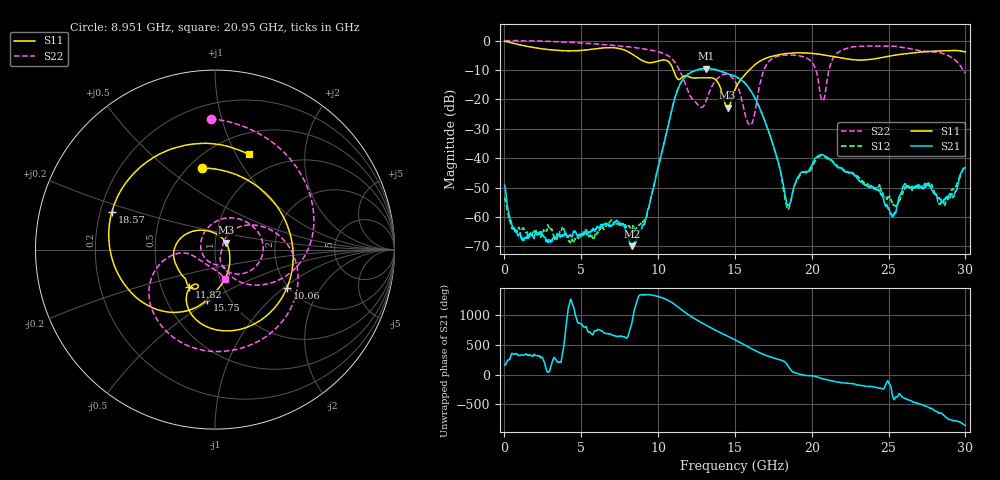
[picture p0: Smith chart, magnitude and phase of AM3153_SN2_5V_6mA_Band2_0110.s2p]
!Agilent Technologies,E8364B,MY43040894,A.07.50.67
!Agilent E8364B: A.07.50.67
!Date: Tuesday, May 12, 2020 09:51:08
!Correction: S11(Full 2 Port(1,2))
!S21(Full 2 Port(1,2))
!S12(Full 2 Port(1,2))
!S22(Full 2 Port(1,2))
!S2P File: Measurements: S11, S21, S12, S22:
# Hz S  dB  R 50
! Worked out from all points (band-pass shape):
!   1601 points, 10 MHz to 30 GHz, reference 50 ohm
!   highest |S21| = -9.48 dB at 13.15 GHz (marker M1); lowest = -69.9 dB at 8.313 GHz (marker M2)
!   |S21| within 3 dB of the highest: 11.74 GHz to 15.15 GHz (3.407 GHz wide, 25.3 % of centre)
!   lowest |S11| = -22.8 dB at 14.52 GHz (marker M3), VSWR 1.16, Z = 56.3 + j4.39 ohm
!   |S11| at or under -10 dB: 11 GHz to 15.93 GHz (4.938 GHz wide, 36.7 % of centre)
!   |S22| runs from -28.8 to 0.1 dB; largest |S21 - S12| = 0.0065
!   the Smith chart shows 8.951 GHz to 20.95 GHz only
!   S11 on the Smith chart (normalised r, x): 8.951 GHz: 0.58, +0.67; 10.06 GHz: 1.97, -1.05; 11.82 GHz: 0.69, -0.31; 15.75 GHz: 0.79, -0.48; 18.57 GHz: 0.25, +0.17; 20.95 GHz: 0.73, +1.13
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1e7  -0.24 -6.5  -49.15 167.8  -53.16 42.5  -0.01 -1.6
1.003419e9  -1.44 -84.0  -65.46 -37.1  -63.99 -42.8  -0.02 -29.8
2.315481e9  -2.68 -168.8  -65.25 -56.9  -65.90 167.9  -0.14 -68.5
3.75875e9  -3.44 111.9  -66.55 -34.7  -63.56 -75.6  -0.47 -110.0
5.014581e9  -3.33 41.3  -65.79 126.5  -65.81 106.9  -0.81 -145.8
6.945188e9  -2.37 -82.9  -63.14 -47.4  -60.94 -50.8  -1.55 158.6
8.313481e9  -4.59 165.7  -69.90 172.2  -64.00 -127.7  -2.24 114.7
8.950769e9  -6.73 99.4  -63.33 -99.1  -61.60 -118.3  -2.73 91.8
1.001916e10  -6.92 -23.8  -42.96 -132.0  -42.64 -130.0  -3.79 45.5
1.005665e10  -6.87 -27.9  -42.12 -134.0  -41.88 -132.7  -3.85 43.6
1.181856e10  -11.95 -124.4  -12.05 -47.7  -12.01 -48.3  -15.38 -59.0
1.314937e10  -12.67 -155.5  -9.48 104.4  -9.42 104.0  -20.14 138.0
1.451766e10  -22.82 32.4  -11.26 -74.0  -11.29 -75.1  -11.51 -5.7
1.5005e10  -16.63 -61.6  -12.15 -136.2  -12.17 -136.9  -13.81 -41.2
1.575475e10  -11.02 -98.6  -15.07 120.0  -15.04 119.3  -26.77 -49.6
1.856631e10  -4.27 160.0  -55.56 103.8  -56.03 99.8  -4.90 -82.6
2.000958e10  -4.35 108.0  -42.36 -19.7  -43.22 -21.6  -7.31 -148.6
2.094677e10  -4.99 70.5  -39.45 -85.5  -39.88 -85.7  -15.25 -71.6
2.199642e10  -5.96 22.5  -43.81 -137.2  -43.43 -132.1  -3.21 -126.9
2.501416e10  -5.31 -134.9  -57.33 -148.1  -53.17 97.0  -1.88 134.6
2.861296e10  -3.47 106.5  -54.20 30.0  -54.98 21.9  -4.49 39.1
3e10  -3.81 76.0  -43.13 -133.5  -43.06 -145.3  -11.00 -10.6
